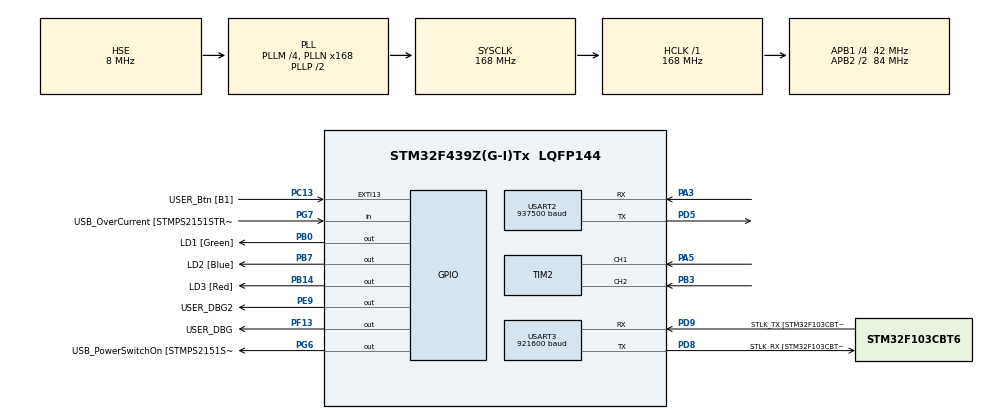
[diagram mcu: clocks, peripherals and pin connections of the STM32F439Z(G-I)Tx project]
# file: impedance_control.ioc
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Dma.Request0=USART3_TX
Dma.Request1=USART2_TX
Dma.Request2=USART2_RX
Dma.Request3=USART3_RX
Dma.USART2_RX.2.Direction=DMA_PERIPH_TO_MEMORY
Dma.USART2_RX.2.FIFOMode=DMA_FIFOMODE_DISABLE
Dma.USART2_RX.2.Instance=DMA1_Stream5
Dma.USART2_RX.2.MemDataAlignment=DMA_MDATAALIGN_BYTE
Dma.USART2_RX.2.MemInc=DMA_MINC_ENABLE
Dma.USART2_RX.2.Mode=DMA_NORMAL
Dma.USART2_RX.2.PeriphDataAlignment=DMA_PDATAALIGN_BYTE
Dma.USART2_RX.2.PeriphInc=DMA_PINC_DISABLE
Dma.USART2_RX.2.Priority=DMA_PRIORITY_LOW
Dma.USART2_TX.1.Direction=DMA_MEMORY_TO_PERIPH
Dma.USART2_TX.1.FIFOMode=DMA_FIFOMODE_DISABLE
Dma.USART2_TX.1.Instance=DMA1_Stream6
Dma.USART2_TX.1.MemDataAlignment=DMA_MDATAALIGN_BYTE
Dma.USART2_TX.1.MemInc=DMA_MINC_ENABLE
Dma.USART2_TX.1.Mode=DMA_NORMAL
Dma.USART2_TX.1.PeriphDataAlignment=DMA_PDATAALIGN_BYTE
Dma.USART2_TX.1.PeriphInc=DMA_PINC_DISABLE
Dma.USART2_TX.1.Priority=DMA_PRIORITY_LOW
Dma.USART3_RX.3.Direction=DMA_PERIPH_TO_MEMORY
Dma.USART3_RX.3.FIFOMode=DMA_FIFOMODE_DISABLE
Dma.USART3_RX.3.Instance=DMA1_Stream1
Dma.USART3_RX.3.MemDataAlignment=DMA_MDATAALIGN_BYTE
Dma.USART3_RX.3.MemInc=DMA_MINC_ENABLE
Dma.USART3_RX.3.Mode=DMA_CIRCULAR
Dma.USART3_RX.3.PeriphDataAlignment=DMA_PDATAALIGN_BYTE
Dma.USART3_RX.3.PeriphInc=DMA_PINC_DISABLE
Dma.USART3_RX.3.Priority=DMA_PRIORITY_LOW
Dma.USART3_TX.0.Direction=DMA_MEMORY_TO_PERIPH
Dma.USART3_TX.0.FIFOMode=DMA_FIFOMODE_DISABLE
Dma.USART3_TX.0.Instance=DMA1_Stream3
Dma.USART3_TX.0.MemDataAlignment=DMA_MDATAALIGN_BYTE
Dma.USART3_TX.0.MemInc=DMA_MINC_ENABLE
Dma.USART3_TX.0.Mode=DMA_NORMAL
Dma.USART3_TX.0.PeriphDataAlignment=DMA_PDATAALIGN_BYTE
Dma.USART3_TX.0.PeriphInc=DMA_PINC_DISABLE
Dma.USART3_TX.0.Priority=DMA_PRIORITY_LOW
Mcu.Family=STM32F4
Mcu.Name=STM32F439Z(G-I)Tx
Mcu.Package=LQFP144
NVIC.DMA1_Stream1_IRQn=true\:0\:0\:false\:false\:true\:false\:true\:true
NVIC.DMA1_Stream3_IRQn=true\:0\:0\:false\:false\:true\:false\:true\:true
NVIC.DMA1_Stream5_IRQn=true\:0\:0\:false\:false\:true\:false\:true\:true
NVIC.DMA1_Stream6_IRQn=true\:0\:0\:false\:false\:true\:false\:true\:true
NVIC.PriorityGroup=NVIC_PRIORITYGROUP_4
NVIC.TIM2_IRQn=true\:0\:0\:false\:false\:true\:true\:true\:true
NVIC.TIM3_IRQn=true\:0\:0\:false\:false\:true\:true\:true\:true
NVIC.TIM4_IRQn=true\:0\:0\:false\:false\:true\:true\:true\:true
NVIC.TIM6_DAC_IRQn=true\:0\:0\:false\:false\:true\:true\:true\:true
NVIC.USART2_IRQn=true\:0\:0\:false\:false\:true\:true\:true\:true
NVIC.USART3_IRQn=true\:0\:0\:false\:false\:true\:true\:true\:true
PA1.GPIO_Label=RMII_REF_CLK [LAN8742A-CZ-TR_REFCLK0]
PA1.Signal=ETH_REF_CLK
PA10.GPIO_Label=USB_ID
PA10.Signal=USB_OTG_FS_ID
PA11.GPIO_Label=USB_DM
PA11.Signal=USB_OTG_FS_DM
PA12.GPIO_Label=USB_DP
PA12.Signal=USB_OTG_FS_DP
PA13.GPIO_Label=TMS
PA13.Mode=Serial_Wire
PA13.Signal=SYS_JTMS-SWDIO
PA14.GPIO_Label=TCK
PA14.Mode=Serial_Wire
PA14.Signal=SYS_JTCK-SWCLK
PA2.GPIO_Label=RMII_MDIO [LAN8742A-CZ-TR_MDIO]
PA2.Signal=ETH_MDIO
PA3.Mode=Asynchronous
PA3.Signal=USART2_RX
PA5.Signal=S_TIM2_CH1_ETR
PA7.GPIO_Label=RMII_CRS_DV [LAN8742A-CZ-TR_CRS_DV]
PA7.Signal=ETH_CRS_DV
PA8.GPIO_Label=USB_SOF [TP1]
PA8.Signal=USB_OTG_FS_SOF
PA9.GPIO_Label=USB_VBUS
PA9.Signal=USB_OTG_FS_VBUS
PB0.GPIO_Label=LD1 [Green]
PB0.Signal=GPIO_Output
PB13.GPIO_Label=RMII_TXD1 [LAN8742A-CZ-TR_TXD1]
PB13.Signal=ETH_TXD1
PB14.GPIO_Label=LD3 [Red]
PB14.Signal=GPIO_Output
PB3.Signal=S_TIM2_CH2
PB7.GPIO_Label=LD2 [Blue]
PB7.Signal=GPIO_Output
PC1.GPIO_Label=RMII_MDC [LAN8742A-CZ-TR_MDC]
PC1.Signal=ETH_MDC
PC13.GPIO_Label=USER_Btn [B1]
PC13.Signal=GPXTI13
PC14/OSC32_IN.Mode=LSE-External-Oscillator
PC14/OSC32_IN.Signal=RCC_OSC32_IN
PC15/OSC32_OUT.Mode=LSE-External-Oscillator
PC15/OSC32_OUT.Signal=RCC_OSC32_OUT
PC4.GPIO_Label=RMII_RXD0 [LAN8742A-CZ-TR_RXD0]
PC4.Signal=ETH_RXD0
PC5.GPIO_Label=RMII_RXD1 [LAN8742A-CZ-TR_RXD1]
PC5.Signal=ETH_RXD1
PD5.Mode=Asynchronous
PD5.Signal=USART2_TX
PD8.GPIO_Label=STLK_RX [STM32F103CBT6_PA3]
PD8.Mode=Asynchronous
PD8.Signal=USART3_TX
PD9.GPIO_Label=STLK_TX [STM32F103CBT6_PA2]
PD9.Mode=Asynchronous
PD9.Signal=USART3_RX
PE9.GPIO_Label=USER_DBG2
PE9.Signal=GPIO_Output
PF13.GPIO_Label=USER_DBG
PF13.Signal=GPIO_Output
PG11.GPIO_Label=RMII_TX_EN [LAN8742A-CZ-TR_TXEN]
PG11.Signal=ETH_TX_EN
PG13.GPIO_Label=RMII_TXD0 [LAN8742A-CZ-TR_TXD0]
PG13.Signal=ETH_TXD0
PG6.GPIO_Label=USB_PowerSwitchOn [STMPS2151STR_EN]
PG6.Signal=GPIO_Output
PG7.GPIO_Label=USB_OverCurrent [STMPS2151STR_FAULT]
PG7.Signal=GPIO_Input
PH0/OSC_IN.GPIO_Label=MCO [STM32F103CBT6_PA8]
PH0/OSC_IN.Mode=HSE-External-Clock-Source
PH0/OSC_IN.Signal=RCC_OSC_IN
PH1/OSC_OUT.Mode=HSE-External-Clock-Source
PH1/OSC_OUT.Signal=RCC_OSC_OUT
ProjectManager.HeapSize=0x200
ProjectManager.StackSize=0x400
ProjectManager.TargetToolchain=STM32CubeIDE
RCC.48MHZClocksFreq_Value=48000000
RCC.AHBFreq_Value=168000000
RCC.APB1CLKDivider=RCC_HCLK_DIV4
RCC.APB1Freq_Value=42000000
RCC.APB1TimFreq_Value=84000000
RCC.APB2CLKDivider=RCC_HCLK_DIV2
RCC.APB2Freq_Value=84000000
RCC.APB2TimCLKDivider=2
RCC.APB2TimFreq_Value=168000000
RCC.CortexFreq_Value=168000000
RCC.HCLKFreq_Value=168000000
RCC.HSE_VALUE=8000000
RCC.HSI_VALUE=16000000
RCC.PLLM=4
RCC.PLLMUL=RCC_PLL_MUL9
RCC.PLLN=168
RCC.PLLQ=7
RCC.PLLSourceVirtual=RCC_PLLSOURCE_HSE
RCC.PRESCALERUSB=RCC_USBCLKSOURCE_PLL_DIV1_5
RCC.SYSCLKFreq_VALUE=168000000
RCC.SYSCLKSource=RCC_SYSCLKSOURCE_PLLCLK
RCC.SYSCLKSourceVirtual=RCC_SYSCLKSOURCE_PLLCLK
RCC.USBFreq_Value=48000000
RCC.VCOOutputFreq_Value=336000000
SH.S_TIM2_CH1_ETR.0=TIM2_CH1,Encoder_Interface
SH.S_TIM2_CH2.0=TIM2_CH2,Encoder_Interface
TIM3.AutoReloadPreload=TIM_AUTORELOAD_PRELOAD_DISABLE
TIM3.Period=59999
TIM3.Prescaler=6
TIM3.TIM_MasterOutputTrigger=TIM_TRGO_UPDATE
TIM3.TIM_MasterSlaveMode=TIM_MASTERSLAVEMODE_ENABLE
TIM4.Period=62999
TIM4.Prescaler=5
TIM4.TIM_MasterSlaveMode=TIM_MASTERSLAVEMODE_DISABLE
TIM6.Period=41999
TIM6.Prescaler=1
USART2.BaudRate=937500
USART2.Mode=MODE_TX_RX
USART2.VirtualMode=VM_ASYNC
USART3.BaudRate=921600
USART3.VirtualMode=VM_ASYNC
VP_CRC_VS_CRC.Mode=CRC_Activate
VP_TIM3_VS_ClockSourceINT.Mode=Internal
VP_TIM4_VS_ClockSourceINT.Mode=Internal
VP_TIM4_VS_ClockSourceITR.Mode=TriggerSource_ITR2
VP_TIM4_VS_ControllerModeTrigger.Mode=Trigger Mode
VP_TIM6_VS_ClockSourceINT.Mode=Enable_Timer
board=NUCLEO-F439ZI

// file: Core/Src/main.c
/* USER CODE BEGIN Header */
/**
  ******************************************************************************
  * @file           : main.c
  * @brief          : Main program body
  ******************************************************************************
  * @attention
  *
  * Copyright (c) 2024 STMicroelectronics.
  * All rights reserved.
  *
  * This software is licensed under terms that can be found in the LICENSE file
  * in the root directory of this software component.
  * If no LICENSE file comes with this software, it is provided AS-IS.
  *
  ******************************************************************************
  */
/* USER CODE END Header */
#include "main.h"

/* USER CODE BEGIN Includes */
#include <math.h>
#include <stdio.h>
#include <stdlib.h>
#include <string.h>

#include "ring_buffer.h"
#include "serial_interface.h"
#include "controller.h"

/* USER CODE END Includes */

/* USER CODE BEGIN PD */
#define CONTROLLER_COMMAND_BUFFER_LENGTH 128
#define DRIVER_COMMAND_BUFFER_LENGTH 128

#define DRIVER_DEVICE_ADDRESS 0x0

/* USER CODE END PD */

CRC_HandleTypeDef hcrc;

TIM_HandleTypeDef htim2;
TIM_HandleTypeDef htim3;
TIM_HandleTypeDef htim4;
TIM_HandleTypeDef htim6;

UART_HandleTypeDef huart2;
UART_HandleTypeDef huart3;
DMA_HandleTypeDef hdma_usart2_tx;
DMA_HandleTypeDef hdma_usart2_rx;
DMA_HandleTypeDef hdma_usart3_tx;
DMA_HandleTypeDef hdma_usart3_rx;

void SystemClock_Config(void);
static void MX_GPIO_Init(void);
static void MX_DMA_Init(void);
static void MX_USART3_UART_Init(void);
static void MX_TIM2_Init(void);
static void MX_USART2_UART_Init(void);
static void MX_TIM3_Init(void);
static void MX_TIM4_Init(void);
static void MX_CRC_Init(void);
static void MX_TIM6_Init(void);

/* USER CODE BEGIN 0 */

// Controller parameters
//SOLO_Direction prev_direction = SOLO_DIRECTION_CW;
//SOLO_Direction direction = SOLO_DIRECTION_CW;

uint8_t controller_rx_data[CONTROLLER_COMMAND_BUFFER_LENGTH];
uint8_t controller_tx_data[CONTROLLER_COMMAND_BUFFER_LENGTH];

uint8_t driver_rx_data[DRIVER_COMMAND_BUFFER_LENGTH];
uint8_t driver_tx_data[DRIVER_COMMAND_BUFFER_LENGTH];
uint8_t driver_command_data[DRIVER_COMMAND_BUFFER_LENGTH];

RingBuffer_uint8_t controller_rx_buffer;
RingBuffer_uint8_t controller_tx_buffer;

RingBuffer_uint8_t driver_rx_buffer;
RingBuffer_uint8_t driver_tx_buffer;
RingBuffer_uint8_t driver_command_buffer;

SerialInterface_t controller_serial_interface;
SerialInterface_t driver_serial_interface;

SOLO_API_Interface_t driver_api_interface;

Controller_t controller;

/* USER CODE END 0 */

int main(void)
{

  /* MCU Configuration--------------------------------------------------------*/

  /* Reset of all peripherals, Initializes the Flash interface and the Systick. */
  HAL_Init();

  /* Configure the system clock */
  SystemClock_Config();

  /* Initialize all configured peripherals */
  MX_GPIO_Init();
  MX_DMA_Init();
  MX_USART3_UART_Init();
  MX_TIM2_Init();
  MX_USART2_UART_Init();
  MX_TIM3_Init();
  MX_TIM4_Init();
  MX_CRC_Init();
  MX_TIM6_Init();
  /* USER CODE BEGIN 2 */

  RingBuffer_uint8_init(&controller_rx_buffer, controller_rx_data, CONTROLLER_COMMAND_BUFFER_LENGTH);
  RingBuffer_uint8_init(&controller_tx_buffer, controller_tx_data, CONTROLLER_COMMAND_BUFFER_LENGTH);
  RingBuffer_uint8_init(&driver_rx_buffer, driver_rx_data, DRIVER_COMMAND_BUFFER_LENGTH);
  RingBuffer_uint8_init(&driver_tx_buffer, driver_tx_data, DRIVER_COMMAND_BUFFER_LENGTH);
  RingBuffer_uint8_init(&driver_command_buffer, driver_command_data, DRIVER_COMMAND_BUFFER_LENGTH);

  SerialInterface_init(&controller_serial_interface, &huart3, &controller_rx_buffer, &controller_tx_buffer);
  SerialInterface_init(&driver_serial_interface, &huart2, &driver_rx_buffer, &driver_tx_buffer);

  SOLO_API_init(&driver_api_interface, &driver_serial_interface, &driver_command_buffer, &htim6, DRIVER_DEVICE_ADDRESS);

  Controller_init(&controller, &controller_serial_interface, &driver_api_interface, &htim3, &htim4, &htim2);
  Controller_listen(&controller);

  /* USER CODE END 2 */

  /* Infinite loop */
  while (1)
  {

  }
}

void SystemClock_Config(void)
{
  RCC_OscInitTypeDef RCC_OscInitStruct = {0};
  RCC_ClkInitTypeDef RCC_ClkInitStruct = {0};

  /** Configure the main internal regulator output voltage
  */
  __HAL_RCC_PWR_CLK_ENABLE();
  __HAL_PWR_VOLTAGESCALING_CONFIG(PWR_REGULATOR_VOLTAGE_SCALE1);

  /** Initializes the RCC Oscillators according to the specified parameters
  * in the RCC_OscInitTypeDef structure.
  */
  RCC_OscInitStruct.OscillatorType = RCC_OSCILLATORTYPE_HSE;
  RCC_OscInitStruct.HSEState = RCC_HSE_BYPASS;
  RCC_OscInitStruct.PLL.PLLState = RCC_PLL_ON;
  RCC_OscInitStruct.PLL.PLLSource = RCC_PLLSOURCE_HSE;
  RCC_OscInitStruct.PLL.PLLM = 4;
  RCC_OscInitStruct.PLL.PLLN = 168;
  RCC_OscInitStruct.PLL.PLLP = RCC_PLLP_DIV2;
  RCC_OscInitStruct.PLL.PLLQ = 7;
  if (HAL_RCC_OscConfig(&RCC_OscInitStruct) != HAL_OK)
  {
    Error_Handler();
  }

  /** Initializes the CPU, AHB and APB buses clocks
  */
  RCC_ClkInitStruct.ClockType = RCC_CLOCKTYPE_HCLK|RCC_CLOCKTYPE_SYSCLK
                              |RCC_CLOCKTYPE_PCLK1|RCC_CLOCKTYPE_PCLK2;
  RCC_ClkInitStruct.SYSCLKSource = RCC_SYSCLKSOURCE_PLLCLK;
  RCC_ClkInitStruct.AHBCLKDivider = RCC_SYSCLK_DIV1;
  RCC_ClkInitStruct.APB1CLKDivider = RCC_HCLK_DIV4;
  RCC_ClkInitStruct.APB2CLKDivider = RCC_HCLK_DIV2;

  if (HAL_RCC_ClockConfig(&RCC_ClkInitStruct, FLASH_LATENCY_5) != HAL_OK)
  {
    Error_Handler();
  }
}

static void MX_CRC_Init(void)
{

  hcrc.Instance = CRC;
  if (HAL_CRC_Init(&hcrc) != HAL_OK)
  {
    Error_Handler();
  }

}

static void MX_TIM2_Init(void)
{

  TIM_Encoder_InitTypeDef sConfig = {0};
  TIM_MasterConfigTypeDef sMasterConfig = {0};

  htim2.Instance = TIM2;
  htim2.Init.Prescaler = 0;
  htim2.Init.CounterMode = TIM_COUNTERMODE_UP;
  htim2.Init.Period = 4294967295;
  htim2.Init.ClockDivision = TIM_CLOCKDIVISION_DIV1;
  htim2.Init.AutoReloadPreload = TIM_AUTORELOAD_PRELOAD_DISABLE;
  sConfig.EncoderMode = TIM_ENCODERMODE_TI1;
  sConfig.IC1Polarity = TIM_ICPOLARITY_RISING;
  sConfig.IC1Selection = TIM_ICSELECTION_DIRECTTI;
  sConfig.IC1Prescaler = TIM_ICPSC_DIV1;
  sConfig.IC1Filter = 0;
  sConfig.IC2Polarity = TIM_ICPOLARITY_RISING;
  sConfig.IC2Selection = TIM_ICSELECTION_DIRECTTI;
  sConfig.IC2Prescaler = TIM_ICPSC_DIV1;
  sConfig.IC2Filter = 0;
  if (HAL_TIM_Encoder_Init(&htim2, &sConfig) != HAL_OK)
  {
    Error_Handler();
  }
  sMasterConfig.MasterOutputTrigger = TIM_TRGO_RESET;
  sMasterConfig.MasterSlaveMode = TIM_MASTERSLAVEMODE_DISABLE;
  if (HAL_TIMEx_MasterConfigSynchronization(&htim2, &sMasterConfig) != HAL_OK)
  {
    Error_Handler();
  }

}

static void MX_TIM3_Init(void)
{

  TIM_ClockConfigTypeDef sClockSourceConfig = {0};
  TIM_MasterConfigTypeDef sMasterConfig = {0};

  htim3.Instance = TIM3;
  htim3.Init.Prescaler = 6;
  htim3.Init.CounterMode = TIM_COUNTERMODE_UP;
  htim3.Init.Period = 59999;
  htim3.Init.ClockDivision = TIM_CLOCKDIVISION_DIV1;
  htim3.Init.AutoReloadPreload = TIM_AUTORELOAD_PRELOAD_DISABLE;
  if (HAL_TIM_Base_Init(&htim3) != HAL_OK)
  {
    Error_Handler();
  }
  sClockSourceConfig.ClockSource = TIM_CLOCKSOURCE_INTERNAL;
  if (HAL_TIM_ConfigClockSource(&htim3, &sClockSourceConfig) != HAL_OK)
  {
    Error_Handler();
  }
  sMasterConfig.MasterOutputTrigger = TIM_TRGO_UPDATE;
  sMasterConfig.MasterSlaveMode = TIM_MASTERSLAVEMODE_ENABLE;
  if (HAL_TIMEx_MasterConfigSynchronization(&htim3, &sMasterConfig) != HAL_OK)
  {
    Error_Handler();
  }

}

static void MX_TIM4_Init(void)
{

  TIM_ClockConfigTypeDef sClockSourceConfig = {0};
  TIM_SlaveConfigTypeDef sSlaveConfig = {0};
  TIM_MasterConfigTypeDef sMasterConfig = {0};

  htim4.Instance = TIM4;
  htim4.Init.Prescaler = 5;
  htim4.Init.CounterMode = TIM_COUNTERMODE_UP;
  htim4.Init.Period = 62999;
  htim4.Init.ClockDivision = TIM_CLOCKDIVISION_DIV1;
  htim4.Init.AutoReloadPreload = TIM_AUTORELOAD_PRELOAD_DISABLE;
  if (HAL_TIM_Base_Init(&htim4) != HAL_OK)
  {
    Error_Handler();
  }
  sClockSourceConfig.ClockSource = TIM_CLOCKSOURCE_INTERNAL;
  if (HAL_TIM_ConfigClockSource(&htim4, &sClockSourceConfig) != HAL_OK)
  {
    Error_Handler();
  }
  sSlaveConfig.SlaveMode = TIM_SLAVEMODE_TRIGGER;
  sSlaveConfig.InputTrigger = TIM_TS_ITR2;
  if (HAL_TIM_SlaveConfigSynchro(&htim4, &sSlaveConfig) != HAL_OK)
  {
    Error_Handler();
  }
  sMasterConfig.MasterOutputTrigger = TIM_TRGO_RESET;
  sMasterConfig.MasterSlaveMode = TIM_MASTERSLAVEMODE_DISABLE;
  if (HAL_TIMEx_MasterConfigSynchronization(&htim4, &sMasterConfig) != HAL_OK)
  {
    Error_Handler();
  }

}

static void MX_TIM6_Init(void)
{

  TIM_MasterConfigTypeDef sMasterConfig = {0};

  htim6.Instance = TIM6;
  htim6.Init.Prescaler = 1;
  htim6.Init.CounterMode = TIM_COUNTERMODE_UP;
  htim6.Init.Period = 41999;
  htim6.Init.AutoReloadPreload = TIM_AUTORELOAD_PRELOAD_DISABLE;
  if (HAL_TIM_Base_Init(&htim6) != HAL_OK)
  {
    Error_Handler();
  }
  sMasterConfig.MasterOutputTrigger = TIM_TRGO_RESET;
  sMasterConfig.MasterSlaveMode = TIM_MASTERSLAVEMODE_DISABLE;
  if (HAL_TIMEx_MasterConfigSynchronization(&htim6, &sMasterConfig) != HAL_OK)
  {
    Error_Handler();
  }

}

static void MX_USART2_UART_Init(void)
{

  huart2.Instance = USART2;
  huart2.Init.BaudRate = 937500;
  huart2.Init.WordLength = UART_WORDLENGTH_8B;
  huart2.Init.StopBits = UART_STOPBITS_1;
  huart2.Init.Parity = UART_PARITY_NONE;
  huart2.Init.Mode = UART_MODE_TX_RX;
  huart2.Init.HwFlowCtl = UART_HWCONTROL_NONE;
  huart2.Init.OverSampling = UART_OVERSAMPLING_16;
  if (HAL_UART_Init(&huart2) != HAL_OK)
  {
    Error_Handler();
  }

}

static void MX_USART3_UART_Init(void)
{

  huart3.Instance = USART3;
  huart3.Init.BaudRate = 921600;
  huart3.Init.WordLength = UART_WORDLENGTH_8B;
  huart3.Init.StopBits = UART_STOPBITS_1;
  huart3.Init.Parity = UART_PARITY_NONE;
  huart3.Init.Mode = UART_MODE_TX_RX;
  huart3.Init.HwFlowCtl = UART_HWCONTROL_NONE;
  huart3.Init.OverSampling = UART_OVERSAMPLING_16;
  if (HAL_UART_Init(&huart3) != HAL_OK)
  {
    Error_Handler();
  }

}

static void MX_DMA_Init(void)
{

  /* DMA controller clock enable */
  __HAL_RCC_DMA1_CLK_ENABLE();

  /* DMA interrupt init */
  /* DMA1_Stream1_IRQn interrupt configuration */
  HAL_NVIC_SetPriority(DMA1_Stream1_IRQn, 0, 0);
  HAL_NVIC_EnableIRQ(DMA1_Stream1_IRQn);
  /* DMA1_Stream3_IRQn interrupt configuration */
  HAL_NVIC_SetPriority(DMA1_Stream3_IRQn, 0, 0);
  HAL_NVIC_EnableIRQ(DMA1_Stream3_IRQn);
  /* DMA1_Stream5_IRQn interrupt configuration */
  HAL_NVIC_SetPriority(DMA1_Stream5_IRQn, 0, 0);
  HAL_NVIC_EnableIRQ(DMA1_Stream5_IRQn);
  /* DMA1_Stream6_IRQn interrupt configuration */
  HAL_NVIC_SetPriority(DMA1_Stream6_IRQn, 0, 0);
  HAL_NVIC_EnableIRQ(DMA1_Stream6_IRQn);

}

static void MX_GPIO_Init(void)
{
  GPIO_InitTypeDef GPIO_InitStruct = {0};

  /* GPIO Ports Clock Enable */
  __HAL_RCC_GPIOC_CLK_ENABLE();
  __HAL_RCC_GPIOH_CLK_ENABLE();
  __HAL_RCC_GPIOA_CLK_ENABLE();
  __HAL_RCC_GPIOB_CLK_ENABLE();
  __HAL_RCC_GPIOF_CLK_ENABLE();
  __HAL_RCC_GPIOE_CLK_ENABLE();
  __HAL_RCC_GPIOD_CLK_ENABLE();
  __HAL_RCC_GPIOG_CLK_ENABLE();

  /*Configure GPIO pin Output Level */
  HAL_GPIO_WritePin(GPIOB, LD1_Pin|LD3_Pin|LD2_Pin, GPIO_PIN_RESET);

  /*Configure GPIO pin Output Level */
  HAL_GPIO_WritePin(USER_DBG_GPIO_Port, USER_DBG_Pin, GPIO_PIN_RESET);

  /*Configure GPIO pin Output Level */
  HAL_GPIO_WritePin(USER_DBG2_GPIO_Port, USER_DBG2_Pin, GPIO_PIN_RESET);

  /*Configure GPIO pin Output Level */
  HAL_GPIO_WritePin(USB_PowerSwitchOn_GPIO_Port, USB_PowerSwitchOn_Pin, GPIO_PIN_RESET);

  /*Configure GPIO pin : USER_Btn_Pin */
  GPIO_InitStruct.Pin = USER_Btn_Pin;
  GPIO_InitStruct.Mode = GPIO_MODE_IT_RISING;
  GPIO_InitStruct.Pull = GPIO_NOPULL;
  HAL_GPIO_Init(USER_Btn_GPIO_Port, &GPIO_InitStruct);

  /*Configure GPIO pins : RMII_MDC_Pin RMII_RXD0_Pin RMII_RXD1_Pin */
  GPIO_InitStruct.Pin = RMII_MDC_Pin|RMII_RXD0_Pin|RMII_RXD1_Pin;
  GPIO_InitStruct.Mode = GPIO_MODE_AF_PP;
  GPIO_InitStruct.Pull = GPIO_NOPULL;
  GPIO_InitStruct.Speed = GPIO_SPEED_FREQ_VERY_HIGH;
  GPIO_InitStruct.Alternate = GPIO_AF11_ETH;
  HAL_GPIO_Init(GPIOC, &GPIO_InitStruct);

  /*Configure GPIO pins : RMII_REF_CLK_Pin RMII_MDIO_Pin RMII_CRS_DV_Pin */
  GPIO_InitStruct.Pin = RMII_REF_CLK_Pin|RMII_MDIO_Pin|RMII_CRS_DV_Pin;
  GPIO_InitStruct.Mode = GPIO_MODE_AF_PP;
  GPIO_InitStruct.Pull = GPIO_NOPULL;
  GPIO_InitStruct.Speed = GPIO_SPEED_FREQ_VERY_HIGH;
  GPIO_InitStruct.Alternate = GPIO_AF11_ETH;
  HAL_GPIO_Init(GPIOA, &GPIO_InitStruct);

  /*Configure GPIO pins : LD1_Pin LD3_Pin LD2_Pin */
  GPIO_InitStruct.Pin = LD1_Pin|LD3_Pin|LD2_Pin;
  GPIO_InitStruct.Mode = GPIO_MODE_OUTPUT_PP;
  GPIO_InitStruct.Pull = GPIO_NOPULL;
  GPIO_InitStruct.Speed = GPIO_SPEED_FREQ_LOW;
  HAL_GPIO_Init(GPIOB, &GPIO_InitStruct);

  /*Configure GPIO pin : USER_DBG_Pin */
  GPIO_InitStruct.Pin = USER_DBG_Pin;
  GPIO_InitStruct.Mode = GPIO_MODE_OUTPUT_PP;
  GPIO_InitStruct.Pull = GPIO_NOPULL;
  GPIO_InitStruct.Speed = GPIO_SPEED_FREQ_LOW;
  HAL_GPIO_Init(USER_DBG_GPIO_Port, &GPIO_InitStruct);

  /*Configure GPIO pin : USER_DBG2_Pin */
  GPIO_InitStruct.Pin = USER_DBG2_Pin;
  GPIO_InitStruct.Mode = GPIO_MODE_OUTPUT_PP;
  GPIO_InitStruct.Pull = GPIO_NOPULL;
  GPIO_InitStruct.Speed = GPIO_SPEED_FREQ_LOW;
  HAL_GPIO_Init(USER_DBG2_GPIO_Port, &GPIO_InitStruct);

  /*Configure GPIO pin : RMII_TXD1_Pin */
  GPIO_InitStruct.Pin = RMII_TXD1_Pin;
  GPIO_InitStruct.Mode = GPIO_MODE_AF_PP;
  GPIO_InitStruct.Pull = GPIO_NOPULL;
  GPIO_InitStruct.Speed = GPIO_SPEED_FREQ_VERY_HIGH;
  GPIO_InitStruct.Alternate = GPIO_AF11_ETH;
  HAL_GPIO_Init(RMII_TXD1_GPIO_Port, &GPIO_InitStruct);

  /*Configure GPIO pin : USB_PowerSwitchOn_Pin */
  GPIO_InitStruct.Pin = USB_PowerSwitchOn_Pin;
  GPIO_InitStruct.Mode = GPIO_MODE_OUTPUT_PP;
  GPIO_InitStruct.Pull = GPIO_NOPULL;
  GPIO_InitStruct.Speed = GPIO_SPEED_FREQ_LOW;
  HAL_GPIO_Init(USB_PowerSwitchOn_GPIO_Port, &GPIO_InitStruct);

  /*Configure GPIO pin : USB_OverCurrent_Pin */
  GPIO_InitStruct.Pin = USB_OverCurrent_Pin;
  GPIO_InitStruct.Mode = GPIO_MODE_INPUT;
  GPIO_InitStruct.Pull = GPIO_NOPULL;
  HAL_GPIO_Init(USB_OverCurrent_GPIO_Port, &GPIO_InitStruct);

  /*Configure GPIO pins : USB_SOF_Pin USB_ID_Pin USB_DM_Pin USB_DP_Pin */
  GPIO_InitStruct.Pin = USB_SOF_Pin|USB_ID_Pin|USB_DM_Pin|USB_DP_Pin;
  GPIO_InitStruct.Mode = GPIO_MODE_AF_PP;
  GPIO_InitStruct.Pull = GPIO_NOPULL;
  GPIO_InitStruct.Speed = GPIO_SPEED_FREQ_VERY_HIGH;
  GPIO_InitStruct.Alternate = GPIO_AF10_OTG_FS;
  HAL_GPIO_Init(GPIOA, &GPIO_InitStruct);

  /*Configure GPIO pin : USB_VBUS_Pin */
  GPIO_InitStruct.Pin = USB_VBUS_Pin;
  GPIO_InitStruct.Mode = GPIO_MODE_INPUT;
  GPIO_InitStruct.Pull = GPIO_NOPULL;
  HAL_GPIO_Init(USB_VBUS_GPIO_Port, &GPIO_InitStruct);

  /*Configure GPIO pins : RMII_TX_EN_Pin RMII_TXD0_Pin */
  GPIO_InitStruct.Pin = RMII_TX_EN_Pin|RMII_TXD0_Pin;
  GPIO_InitStruct.Mode = GPIO_MODE_AF_PP;
  GPIO_InitStruct.Pull = GPIO_NOPULL;
  GPIO_InitStruct.Speed = GPIO_SPEED_FREQ_VERY_HIGH;
  GPIO_InitStruct.Alternate = GPIO_AF11_ETH;
  HAL_GPIO_Init(GPIOG, &GPIO_InitStruct);

}

void Error_Handler(void)
{
  /* USER CODE BEGIN Error_Handler_Debug */
  /* User can add his own implementation to report the HAL error return state */
  __disable_irq();
  while (1)
  {
	  HAL_GPIO_TogglePin(LD3_GPIO_Port, LD3_Pin);
	  HAL_Delay(500);
  }
  /* USER CODE END Error_Handler_Debug */
}
